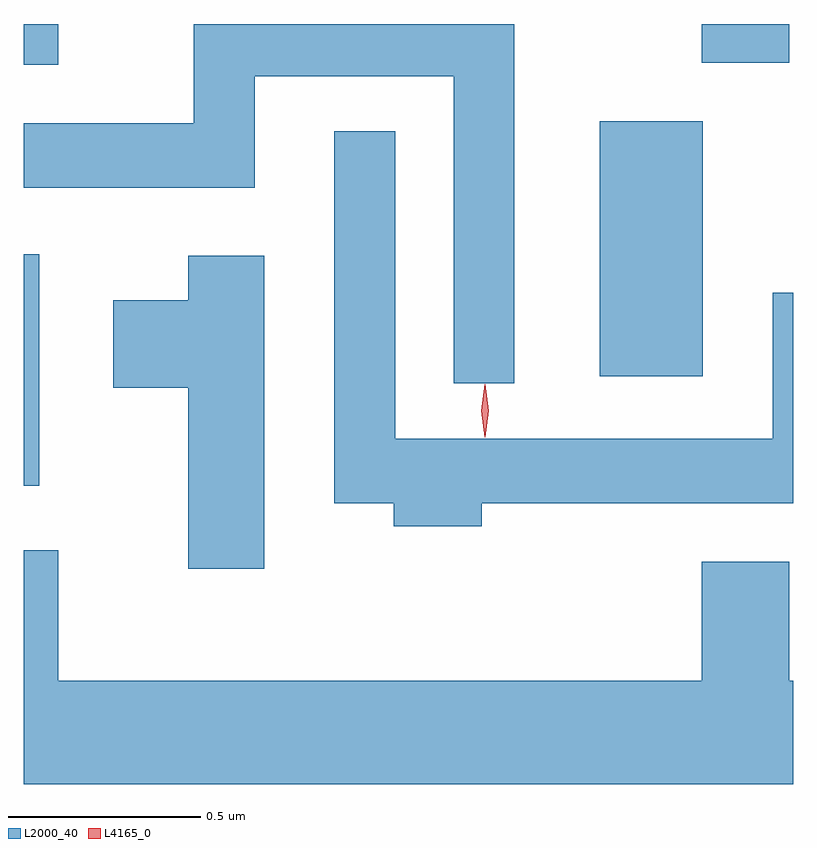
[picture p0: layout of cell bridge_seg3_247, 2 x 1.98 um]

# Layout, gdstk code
import gdstk
lib = gdstk.Library(unit=1e-6, precision=1e-09)
def R(c, l, rs):  # rectangles x0, y0, x1, y1
    for r in rs: c.add(gdstk.rectangle(r[:2], r[2:], *l))
def P(c, l, *ps):  # polygons
    for p in ps: c.add(gdstk.Polygon(p, *l))
L2000_40 = (2000, 40)
L4165_0 = (4165, 0)

bridge_seg3_247 = lib.new_cell('bridge_seg3_247')
R(bridge_seg3_247, L2000_40, [(987.059,1144.551,987.099,1145.154), (988.556,1144.836,988.824,1145.499), (987.059,1145.646,987.149,1145.752), (988.821,1145.651,989.049,1145.752)])
P(bridge_seg3_247, L2000_40, [(988.334,1145.752),(987.501,1145.752),(987.501,1145.494),(987.059,1145.494),(987.059,1145.326),(987.659,1145.326),(987.659,1145.616),(988.176,1145.616),(988.176,1144.818),(988.334,1144.818)],
  [(988.249,1144.506),(989.059,1144.506),(989.059,1145.053),(989.006,1145.053),(989.006,1144.674),(988.024,1144.674),(988.024,1145.473),(987.866,1145.473),(987.866,1144.506),(988.021,1144.506),(988.021,1144.446),(988.249,1144.446)],
  [(987.684,1145.149),(987.486,1145.149),(987.486,1145.034),(987.291,1145.034),(987.291,1144.806),(987.486,1144.806),(987.486,1144.336),(987.684,1144.336)],
  [(989.059,1144.044),(989.049,1144.044),(989.049,1144.354),(988.821,1144.354),(988.821,1144.044),(987.149,1144.044),(987.149,1144.384),(987.059,1144.384),(987.059,1143.776),(989.059,1143.776)])
P(bridge_seg3_247, L4165_0, [(988.258,1144.679),(988.257,1144.68),(988.248,1144.746),(988.257,1144.812),(988.258,1144.813),(988.258,1144.812),(988.268,1144.746),(988.258,1144.68)],
  [(988.257,1144.677),(988.248,1144.747),(988.257,1144.816),(988.258,1144.816),(988.258,1144.816),(988.268,1144.747),(988.258,1144.677),(988.258,1144.677)])

lib.write_gds('bridge_seg3_247.gds')
